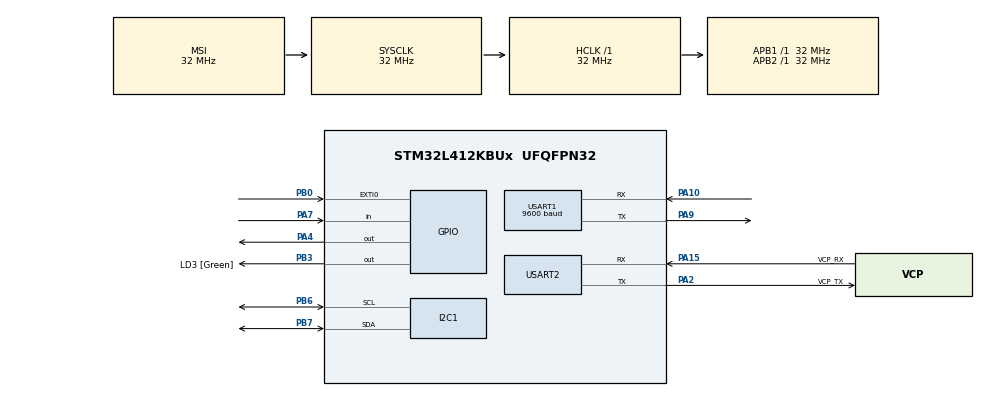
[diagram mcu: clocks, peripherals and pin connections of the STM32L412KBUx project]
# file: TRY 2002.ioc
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I2C1.Timing=0x00B07CB4
Mcu.Family=STM32L4
Mcu.Name=STM32L412KBUx
Mcu.Package=UFQFPN32
NVIC.EXTI0_IRQn=true\:0\:0\:false\:false\:true\:true\:true\:true
NVIC.PriorityGroup=NVIC_PRIORITYGROUP_4
NVIC.RTC_WKUP_IRQn=true\:0\:0\:false\:false\:true\:true\:true\:true
PA0-CK_IN.Mode=HSE-External-Clock-Source-for-LittleOrca
PA0-CK_IN.Signal=RCC_CK_IN
PA10.Mode=Asynchronous
PA10.Signal=USART1_RX
PA13\ (JTMS/SWDIO).GPIO_Label=SWDIO
PA13\ (JTMS/SWDIO).Mode=Serial_Wire
PA13\ (JTMS/SWDIO).Signal=SYS_JTMS-SWDIO
PA14\ (JTCK/SWCLK).GPIO_Label=SWCLK
PA14\ (JTCK/SWCLK).Mode=Serial_Wire
PA14\ (JTCK/SWCLK).Signal=SYS_JTCK-SWCLK
PA15\ (JTDI).GPIO_Label=VCP_RX
PA15\ (JTDI).Mode=Asynchronous
PA15\ (JTDI).Signal=USART2_RX
PA2.GPIO_Label=VCP_TX
PA2.Mode=Asynchronous
PA2.Signal=USART2_TX
PA4.Signal=GPIO_Output
PA7.Signal=GPIO_Input
PA9.Mode=Asynchronous
PA9.Signal=USART1_TX
PB0.GPIO_PuPd=GPIO_PULLUP
PB0.Signal=GPXTI0
PB3\ (JTDO/TRACESWO).GPIO_Label=LD3 [Green]
PB3\ (JTDO/TRACESWO).Signal=GPIO_Output
PB6.Mode=I2C
PB6.Signal=I2C1_SCL
PB7.Mode=I2C
PB7.Signal=I2C1_SDA
PC14-OSC32_IN\ (PC14).Mode=LSE-External-Oscillator
PC14-OSC32_IN\ (PC14).Signal=RCC_OSC32_IN
PC15-OSC32_OUT\ (PC15).Mode=LSE-External-Oscillator
PC15-OSC32_OUT\ (PC15).Signal=RCC_OSC32_OUT
ProjectManager.HeapSize=0x200
ProjectManager.StackSize=0x400
ProjectManager.TargetToolchain=STM32CubeIDE
RCC.ADCFreq_Value=32000000
RCC.AHBFreq_Value=32000000
RCC.APB1Freq_Value=32000000
RCC.APB1TimFreq_Value=32000000
RCC.APB2Freq_Value=32000000
RCC.APB2TimFreq_Value=32000000
RCC.CortexFreq_Value=32000000
RCC.FLatency=FLASH_LATENCY_1
RCC.HCLKFreq_Value=32000000
RCC.HSE_VALUE=8000000
RCC.HSI48_VALUE=48000000
RCC.HSICalibrationValue=64
RCC.HSI_VALUE=16000000
RCC.LSE_Drive_Capability=RCC_LSEDRIVE_LOW
RCC.MSIClockRange=RCC_MSIRANGE_10
RCC.MSI_VALUE=32000000
RCC.RTCClockSelection=RCC_RTCCLKSOURCE_LSE
RCC.SYSCLKFreq_VALUE=32000000
RCC.USBFreq_Value=32000000
RCC.VCOOutputFreq_Value=256000000
USART1.BaudRate=9600
USART1.VirtualMode-Asynchronous=VM_ASYNC
USART2.VirtualMode-Asynchronous=VM_ASYNC
VP_RTC_VS_RTC_Activate.Mode=RTC_Enabled
VP_RTC_VS_RTC_WakeUp_intern.Mode=WakeUp
board=NUCLEO-L412KB

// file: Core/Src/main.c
/* USER CODE BEGIN Header  */
/**
  ******************************************************************************
  * @file           : main.c
  * @brief          : Main program body
  ******************************************************************************
  */
/* USER CODE END Header */
#include "main.h"
#include <stdio.h>
#include <string.h>

#define SHT40_ADDR (0x44 << 1)      // HAL expects 8-bit address
#define XIAO_I2C_ADDR (0x28 << 1)   // 7-bit 0x28 -> 8-bit for HAL

// HC-SR04 pins
#define HCSR04_TRIG_PORT GPIOA
#define HCSR04_TRIG_PIN  GPIO_PIN_4   // PA4 -> Trigger
#define HCSR04_ECHO_PORT GPIOA
#define HCSR04_ECHO_PIN  GPIO_PIN_7   // PA7 -> Echo

I2C_HandleTypeDef hi2c1;
UART_HandleTypeDef huart1;   // USART1 -> Wio-E5
UART_HandleTypeDef huart2;   // USART2 -> PC (ST-LINK)
RTC_HandleTypeDef hrtc;

volatile uint8_t btn_ble_trigger = 0; // PB0 EXTI
volatile uint8_t rtc_wakeup_flag = 0; // RTC wakeup

static uint8_t rtc_tick_count = 0;

static uint32_t last_btn_tick = 0;

uint8_t sht40_data[6];
uint8_t lora_rx[64];

/* cached last sensor values (BLE uses these) */
static float last_temp = 0.0f;
static float last_hum  = 0.0f;
static float last_dist = 0.0f;

void SystemClock_Config(void);
static void MX_GPIO_Init(void);
static void MX_USART1_UART_Init(void);
static void MX_USART2_UART_Init(void);
static void MX_I2C1_Init(void);
static void MX_RTC_Init(void);

/* USER prototypes */
int  SHT40_Read(float *temperature, float *humidity);
void LoRa_Send(const char *s);
void LoRa_ReadReply(void);
int  LoRa_ReadReply_Long(void);
void BLE_I2C_Send(float temp, float hum, float dist_cm);

void  DWT_Init(void);
void  delay_us(uint32_t us);
float HCSR04_ReadDistance_cm(void);

/* USER CODE BEGIN 0 */
// Redirect printf to UART2 (PC)
#ifdef __GNUC__
#define PUTCHAR_PROTOTYPE int __io_putchar(int ch)
#else
#define PUTCHAR_PROTOTYPE int fputc(int ch, FILE *f)
#endif
PUTCHAR_PROTOTYPE
{
    HAL_UART_Transmit(&huart2, (uint8_t*)&ch, 1, 100);
    return ch;
}

// EXTI callback
void HAL_GPIO_EXTI_Callback(uint16_t GPIO_Pin)
{
    if (GPIO_Pin == GPIO_PIN_0)
    {
        uint32_t now = HAL_GetTick();

        // 250 ms debounce
        if ((now - last_btn_tick) > 250)
        {
            last_btn_tick = now;
            btn_ble_trigger = 1;
        }
    }
}

// RTC wake callback
void HAL_RTCEx_WakeUpTimerEventCallback(RTC_HandleTypeDef *hrtc_)
{
    (void)hrtc_;
    rtc_wakeup_flag = 1;
}

// BLE I2C send
void BLE_I2C_Send(float temp, float hum, float dist_cm)
{
    int16_t t_x100 = (int16_t)(temp * 100.0f);
    int16_t h_x100 = (int16_t)(hum  * 100.0f);
    int16_t d_x10  = (int16_t)(dist_cm * 10.0f);

    uint8_t buf[7];
    buf[0] = 0x55;
    buf[1] = (t_x100 >> 8) & 0xFF;
    buf[2] =  t_x100       & 0xFF;
    buf[3] = (h_x100 >> 8) & 0xFF;
    buf[4] =  h_x100       & 0xFF;
    buf[5] = (d_x10  >> 8) & 0xFF;
    buf[6] =  d_x10        & 0xFF;

    HAL_StatusTypeDef st = HAL_I2C_Master_Transmit(&hi2c1, XIAO_I2C_ADDR, buf, sizeof(buf), 100);

    if (st == HAL_OK) {
        printf("BLE OK: T=%.2f H=%.2f D=%.1f\r\n", temp, hum, dist_cm);
    } else {
        printf("BLE FAIL (st=%d)\r\n", st);
    }
}

// SHT40 read
int SHT40_Read(float *temperature, float *humidity)
{
    uint8_t cmd = 0xFD;
    if (HAL_I2C_Master_Transmit(&hi2c1, SHT40_ADDR, &cmd, 1, 100) != HAL_OK)
        return HAL_ERROR;

    HAL_Delay(10);

    if (HAL_I2C_Master_Receive(&hi2c1, SHT40_ADDR, sht40_data, 6, 100) != HAL_OK)
        return HAL_ERROR;

    uint16_t t_raw = (sht40_data[0] << 8) | sht40_data[1];
    uint16_t h_raw = (sht40_data[3] << 8) | sht40_data[4];

    *temperature = -45.0f + 175.0f * ((float)t_raw / 65535.0f);
    *humidity    = 100.0f * ((float)h_raw / 65535.0f);

    return HAL_OK;
}

// LoRa send
void LoRa_Send(const char *s)
{
    HAL_UART_Transmit(&huart1, (uint8_t*)s, strlen(s), 1000);
}

// LoRa short reply
void LoRa_ReadReply(void)
{
    memset(lora_rx, 0, sizeof(lora_rx));
    HAL_UART_Receive(&huart1, lora_rx, sizeof(lora_rx) - 1, 500);
    printf("LoRa reply: %s\r\n", lora_rx);
}

// LoRa long reply (join success detection)
int LoRa_ReadReply_Long(void)
{
    memset(lora_rx, 0, sizeof(lora_rx));

    uint32_t start = HAL_GetTick();
    uint16_t idx = 0;
    uint8_t ch;

    while ((HAL_GetTick() - start) < 15000)
    {
        if (HAL_UART_Receive(&huart1, &ch, 1, 50) == HAL_OK)
        {
            if (idx < sizeof(lora_rx) - 1) lora_rx[idx++] = ch;
            HAL_UART_Transmit(&huart2, &ch, 1, 10);
        }
    }

    lora_rx[idx] = 0;
    printf("\r\n[LoRa long reply buffer]\r\n%s\r\n", lora_rx);

    if (strstr((char*)lora_rx, "Network joined") != NULL ||
        strstr((char*)lora_rx, "Join Succeeded") != NULL)
        return 1;

    return 0;
}

// DWT init
void DWT_Init(void)
{
    CoreDebug->DEMCR |= CoreDebug_DEMCR_TRCENA_Msk;
    DWT->CYCCNT = 0;
    DWT->CTRL |= DWT_CTRL_CYCCNTENA_Msk;
}

void delay_us(uint32_t us)
{
    uint32_t cycles = (SystemCoreClock / 1000000U) * us;
    uint32_t start = DWT->CYCCNT;
    while ((DWT->CYCCNT - start) < cycles) { }
}

float HCSR04_ReadDistance_cm(void)
{
    uint32_t start_cycles, echo_cycles;
    uint32_t timeout_us = 30000;

    HAL_GPIO_WritePin(HCSR04_TRIG_PORT, HCSR04_TRIG_PIN, GPIO_PIN_RESET);
    HAL_Delay(2);

    HAL_GPIO_WritePin(HCSR04_TRIG_PORT, HCSR04_TRIG_PIN, GPIO_PIN_SET);
    delay_us(10);
    HAL_GPIO_WritePin(HCSR04_TRIG_PORT, HCSR04_TRIG_PIN, GPIO_PIN_RESET);

    uint32_t t0 = DWT->CYCCNT;
    while (HAL_GPIO_ReadPin(HCSR04_ECHO_PORT, HCSR04_ECHO_PIN) == GPIO_PIN_RESET)
    {
        if ((DWT->CYCCNT - t0) > timeout_us * (SystemCoreClock / 1000000U))
            return -1.0f;
    }

    start_cycles = DWT->CYCCNT;
    while (HAL_GPIO_ReadPin(HCSR04_ECHO_PORT, HCSR04_ECHO_PIN) == GPIO_PIN_SET)
    {
        if ((DWT->CYCCNT - start_cycles) > timeout_us * (SystemCoreClock / 1000000U))
            break;
    }
    echo_cycles = DWT->CYCCNT - start_cycles;

    float echo_us = (float)echo_cycles / (SystemCoreClock / 1000000.0f);
    return echo_us / 58.0f;
}
/* USER CODE END 0 */

int main(void)
{
    HAL_Init();
    HAL_SuspendTick();   // <--- ADD THIS

    SystemClock_Config();
    MX_GPIO_Init();
    MX_USART2_UART_Init();
    MX_I2C1_Init();
    MX_USART1_UART_Init();
    MX_RTC_Init();

    DWT_Init();

    HAL_Delay(1000);

    printf("Booted. STOP2 + RTC 15s + PB0 BLE\r\n");

    LoRa_Send("AT+ID\r\n");
    LoRa_ReadReply_Long();

    HAL_Delay(5000);

    LoRa_Send("AT+MODE=LWOTAA\r\n");
    HAL_Delay(300);
    LoRa_ReadReply();

    LoRa_Send("AT+DR=EU868\r\n");
    HAL_Delay(300);
    LoRa_ReadReply();

    int joined_ok = 0;
    uint32_t last_join_attempt = 0;

    float temp = 0.0f, hum = 0.0f;

    while (1)
    {
        if (!rtc_wakeup_flag && !btn_ble_trigger)
        {
            __HAL_RTC_WAKEUPTIMER_CLEAR_FLAG(&hrtc, RTC_FLAG_WUTF);
            __HAL_PWR_CLEAR_FLAG(PWR_FLAG_WU);

            HAL_SuspendTick();
            HAL_PWREx_EnterSTOP2Mode(PWR_STOPENTRY_WFI);
            HAL_ResumeTick();

            SystemClock_Config();
            continue;
        }

        if (rtc_wakeup_flag)
                {
                    rtc_wakeup_flag = 0;

                    uint32_t now = HAL_GetTick();

                    if (!joined_ok)
                    {
                        LoRa_Send("AT+JOIN\r\n");
                        joined_ok = LoRa_ReadReply_Long();
                    }

                    if (SHT40_Read(&temp, &hum) == HAL_OK)
                    {
                        last_temp = temp;
                        last_hum  = hum;
                        last_dist = HCSR04_ReadDistance_cm();

                        if (joined_ok)
                        {
                            int16_t t_int = (int16_t)(last_temp * 100);
                            int16_t h_int = (int16_t)(last_hum  * 100);
                            int16_t d_int = (int16_t)(last_dist * 10);

                            uint8_t p0 = (uint8_t)(t_int >> 8);
                            uint8_t p1 = (uint8_t)(t_int & 0xFF);
                            uint8_t p2 = (uint8_t)(h_int >> 8);
                            uint8_t p3 = (uint8_t)(h_int & 0xFF);
                            uint8_t p4 = (uint8_t)(d_int >> 8);
                            uint8_t p5 = (uint8_t)(d_int & 0xFF);

                            char cmd[64];
                            sprintf(cmd, "AT+MSGHEX=%02X%02X%02X%02X%02X%02X\r\n", p0,p1,p2,p3,p4,p5);

                            LoRa_Send(cmd);
                            LoRa_ReadReply();
                        }
                    }
                }

        // BLE event: use cached values ONLY
        if (btn_ble_trigger)
        {
            btn_ble_trigger = 0;
            BLE_I2C_Send(last_temp, last_hum, last_dist);
        }

        // RTC tick: measure sensors + join/tx

    }
}

/* Peripheral initialization functions generated by CubeMX below */

void SystemClock_Config(void)
{
    RCC_OscInitTypeDef RCC_OscInitStruct = {0};
    RCC_ClkInitTypeDef RCC_ClkInitStruct = {0};

    if (HAL_PWREx_ControlVoltageScaling(PWR_REGULATOR_VOLTAGE_SCALE1) != HAL_OK) Error_Handler();

    HAL_PWR_EnableBkUpAccess();
    __HAL_RCC_LSEDRIVE_CONFIG(RCC_LSEDRIVE_LOW);

    RCC_OscInitStruct.OscillatorType = RCC_OSCILLATORTYPE_LSE|RCC_OSCILLATORTYPE_MSI;
    RCC_OscInitStruct.LSEState = RCC_LSE_ON;
    RCC_OscInitStruct.MSIState = RCC_MSI_ON;
    RCC_OscInitStruct.MSICalibrationValue = 0;
    RCC_OscInitStruct.MSIClockRange = RCC_MSIRANGE_10;
    RCC_OscInitStruct.PLL.PLLState = RCC_PLL_NONE;
    if (HAL_RCC_OscConfig(&RCC_OscInitStruct) != HAL_OK) Error_Handler();

    RCC_ClkInitStruct.ClockType = RCC_CLOCKTYPE_HCLK|RCC_CLOCKTYPE_SYSCLK
                                |RCC_CLOCKTYPE_PCLK1|RCC_CLOCKTYPE_PCLK2;
    RCC_ClkInitStruct.SYSCLKSource = RCC_SYSCLKSOURCE_MSI;
    RCC_ClkInitStruct.AHBCLKDivider = RCC_SYSCLK_DIV1;
    RCC_ClkInitStruct.APB1CLKDivider = RCC_HCLK_DIV1;
    RCC_ClkInitStruct.APB2CLKDivider = RCC_HCLK_DIV1;
    if (HAL_RCC_ClockConfig(&RCC_ClkInitStruct, FLASH_LATENCY_1) != HAL_OK) Error_Handler();

    HAL_RCCEx_EnableMSIPLLMode();
}

static void MX_I2C1_Init(void)
{
    hi2c1.Instance = I2C1;
    hi2c1.Init.Timing = 0x00707CBB;
    hi2c1.Init.OwnAddress1 = 0;
    hi2c1.Init.AddressingMode = I2C_ADDRESSINGMODE_7BIT;
    hi2c1.Init.DualAddressMode = I2C_DUALADDRESS_DISABLE;
    hi2c1.Init.OwnAddress2 = 0;
    hi2c1.Init.OwnAddress2Masks = I2C_OA2_NOMASK;
    hi2c1.Init.GeneralCallMode = I2C_GENERALCALL_DISABLE;
    hi2c1.Init.NoStretchMode = I2C_NOSTRETCH_DISABLE;
    if (HAL_I2C_Init(&hi2c1) != HAL_OK) Error_Handler();
    if (HAL_I2CEx_ConfigAnalogFilter(&hi2c1, I2C_ANALOGFILTER_ENABLE) != HAL_OK) Error_Handler();
    if (HAL_I2CEx_ConfigDigitalFilter(&hi2c1, 0) != HAL_OK) Error_Handler();
}

static void MX_USART1_UART_Init(void)
{
    huart1.Instance = USART1;
    huart1.Init.BaudRate = 9600;
    huart1.Init.WordLength = UART_WORDLENGTH_8B;
    huart1.Init.StopBits = UART_STOPBITS_1;
    huart1.Init.Parity = UART_PARITY_NONE;
    huart1.Init.Mode = UART_MODE_TX_RX;
    huart1.Init.HwFlowCtl = UART_HWCONTROL_NONE;
    huart1.Init.OverSampling = UART_OVERSAMPLING_16;
    huart1.Init.OneBitSampling = UART_ONE_BIT_SAMPLE_DISABLE;
    huart1.AdvancedInit.AdvFeatureInit = UART_ADVFEATURE_NO_INIT;
    if (HAL_UART_Init(&huart1) != HAL_OK) Error_Handler();
}

static void MX_USART2_UART_Init(void)
{
    huart2.Instance = USART2;
    huart2.Init.BaudRate = 115200;
    huart2.Init.WordLength = UART_WORDLENGTH_8B;
    huart2.Init.StopBits = UART_STOPBITS_1;
    huart2.Init.Parity = UART_PARITY_NONE;
    huart2.Init.Mode = UART_MODE_TX_RX;
    huart2.Init.HwFlowCtl = UART_HWCONTROL_NONE;
    huart2.Init.OverSampling = UART_OVERSAMPLING_16;
    huart2.Init.OneBitSampling = UART_ONE_BIT_SAMPLE_DISABLE;
    huart2.AdvancedInit.AdvFeatureInit = UART_ADVFEATURE_NO_INIT;
    if (HAL_UART_Init(&huart2) != HAL_OK) Error_Handler();
}

static void MX_RTC_Init(void)
{
    __HAL_RCC_RTC_ENABLE();

    hrtc.Instance = RTC;
    hrtc.Init.HourFormat = RTC_HOURFORMAT_24;
    hrtc.Init.AsynchPrediv = 127;
    hrtc.Init.SynchPrediv  = 255;
    hrtc.Init.OutPut = RTC_OUTPUT_DISABLE;
    hrtc.Init.OutPutRemap = RTC_OUTPUT_REMAP_NONE;
    hrtc.Init.OutPutPolarity = RTC_OUTPUT_POLARITY_HIGH;
    hrtc.Init.OutPutType = RTC_OUTPUT_TYPE_OPENDRAIN;

    if (HAL_RTC_Init(&hrtc) != HAL_OK)
    {
        Error_Handler();
    }

    /* STM32L412: 4-arg API, AutoClr NOT exposed → use 0 */
    if (HAL_RTCEx_SetWakeUpTimer_IT(
            &hrtc,
            (15U * 32768U) / 16U,
            RTC_WAKEUPCLOCK_RTCCLK_DIV16,
            0) != HAL_OK)
    {
        Error_Handler();
    }

    HAL_NVIC_SetPriority(RTC_WKUP_IRQn, 0, 0);
    HAL_NVIC_EnableIRQ(RTC_WKUP_IRQn);
}

static void MX_GPIO_Init(void)
{
    __HAL_RCC_GPIOC_CLK_ENABLE();
    __HAL_RCC_GPIOA_CLK_ENABLE();
    __HAL_RCC_GPIOB_CLK_ENABLE();

    GPIO_InitTypeDef GPIO_InitStruct = {0};

    HAL_GPIO_WritePin(LD3_GPIO_Port, LD3_Pin, GPIO_PIN_RESET);
    GPIO_InitStruct.Pin = LD3_Pin;
    GPIO_InitStruct.Mode = GPIO_MODE_OUTPUT_PP;
    GPIO_InitStruct.Pull = GPIO_NOPULL;
    GPIO_InitStruct.Speed = GPIO_SPEED_FREQ_LOW;
    HAL_GPIO_Init(LD3_GPIO_Port, &GPIO_InitStruct);

    GPIO_InitStruct.Pin = GPIO_PIN_4;
    GPIO_InitStruct.Mode = GPIO_MODE_OUTPUT_PP;
    GPIO_InitStruct.Pull = GPIO_NOPULL;
    GPIO_InitStruct.Speed = GPIO_SPEED_FREQ_LOW;
    HAL_GPIO_Init(GPIOA, &GPIO_InitStruct);

    GPIO_InitStruct.Pin = GPIO_PIN_7;
    GPIO_InitStruct.Mode = GPIO_MODE_INPUT;
    GPIO_InitStruct.Pull = GPIO_NOPULL;
    HAL_GPIO_Init(GPIOA, &GPIO_InitStruct);

    GPIO_InitStruct.Pin  = GPIO_PIN_0;
    GPIO_InitStruct.Mode = GPIO_MODE_IT_FALLING;
    GPIO_InitStruct.Pull = GPIO_PULLUP;
    HAL_GPIO_Init(GPIOB, &GPIO_InitStruct);

    HAL_NVIC_SetPriority(EXTI0_IRQn, 0, 0);
    HAL_NVIC_EnableIRQ(EXTI0_IRQn);
}

void Error_Handler(void)
{
    __disable_irq();
    while (1) {}
}
